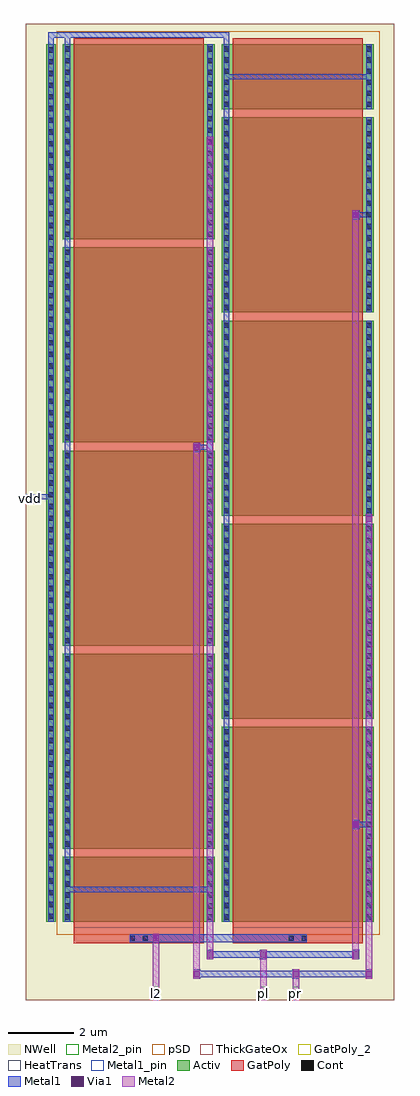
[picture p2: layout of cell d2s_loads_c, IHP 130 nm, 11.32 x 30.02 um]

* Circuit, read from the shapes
.subckt d2s_loads_c l2 pl pr vdd
XM1 vdd l2 vdd vdd sg13_hv_pmos w=2u l=4u m=2
XM2 pl l2 vdd vdd sg13_hv_pmos w=6u l=4u m=4
XM3 pr l2 vdd vdd sg13_hv_pmos w=6u l=4u m=4
.ends

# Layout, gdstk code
import gdstk
lib = gdstk.Library(unit=1e-6, precision=1e-09)
def R(c, l, rs):  # rectangles x0, y0, x1, y1
    for r in rs: c.add(gdstk.rectangle(r[:2], r[2:], *l))
def A(c, l, x, y, w, h, nx, ny, dx, dy):  # array of equal rectangles
    R(c, l, [(x+i*dx, y+j*dy, x+i*dx+w, y+j*dy+h) for i in range(nx) for j in range(ny)])
Activ = (1, 0)
GatPoly = (5, 0)
GatPoly_2 = (5, 2)
Cont = (6, 0)
Metal1 = (8, 0)
Metal1_pin = (8, 2)
Metal2 = (10, 0)
Metal2_pin = (10, 2)
pSD = (14, 0)
Via1 = (19, 0)
NWell = (31, 0)
ThickGateOx = (44, 0)
HeatTrans = (51, 0)

pmoshv_15 = lib.new_cell('pmosHV$15')
R(pmoshv_15, Activ, [(0,0,0.3,0.3), (0,0,4.68,2), (4.38,0,4.68,0.3)])
R(pmoshv_15, GatPoly, [(0.34,-0.18,4.34,2.18)])
R(pmoshv_15, GatPoly_2, [(0.34,-0.18,4.34,2.18)])
A(pmoshv_15, Cont, 0.07, 0.07, 0.16, 0.16, 1, 6, 0, 0.34)
A(pmoshv_15, Cont, 4.45, 0.07, 0.16, 0.16, 1, 6, 0, 0.34)
R(pmoshv_15, Metal1, [(0.07,0,0.23,2), (4.45,0,4.61,2)])
R(pmoshv_15, Metal1_pin, [(0.07,0,0.23,2), (4.45,0,4.61,2)])
R(pmoshv_15, pSD, [(-0.18,-0.4,4.86,2.4)])
R(pmoshv_15, NWell, [(-0.62,-0.62,5.3,2.62)])
R(pmoshv_15, ThickGateOx, [(-0.62,-0.62,5.3,2.62)])
R(pmoshv_15, HeatTrans, [(0.34,-0.18,4.34,2.18)])
pmoshv_15.add(gdstk.Label('pmosHV', (2.34,1), layer=63, texttype=0))
pmoshv_15.add(gdstk.Label('pmos', (2.34,1), layer=51, texttype=0))

pmoshv_2 = lib.new_cell('pmosHV$2')
R(pmoshv_2, Activ, [(0,0,0.3,0.3), (0,0,4.68,6), (4.38,0,4.68,0.3)])
R(pmoshv_2, GatPoly, [(0.34,-0.18,4.34,6.18)])
R(pmoshv_2, GatPoly_2, [(0.34,-0.18,4.34,6.18)])
A(pmoshv_2, Cont, 0.07, 0.07, 0.16, 0.16, 1, 4, 0, 0.355)
A(pmoshv_2, Cont, 4.45, 0.07, 0.16, 0.16, 1, 4, 0, 0.355)
A(pmoshv_2, Cont, 0.07, 1.495, 0.16, 0.16, 1, 4, 0, 0.355)
A(pmoshv_2, Cont, 4.45, 1.495, 0.16, 0.16, 1, 4, 0, 0.355)
A(pmoshv_2, Cont, 0.07, 2.92, 0.16, 0.16, 1, 4, 0, 0.355)
A(pmoshv_2, Cont, 4.45, 2.92, 0.16, 0.16, 1, 4, 0, 0.355)
A(pmoshv_2, Cont, 0.07, 4.345, 0.16, 0.16, 1, 4, 0, 0.355)
A(pmoshv_2, Cont, 4.45, 4.345, 0.16, 0.16, 1, 4, 0, 0.355)
R(pmoshv_2, Cont, [(0.07,5.77,0.23,5.93), (4.45,5.77,4.61,5.93)])
R(pmoshv_2, Metal1, [(0.07,0,0.23,6), (4.45,0,4.61,6)])
R(pmoshv_2, Metal1_pin, [(0.07,0,0.23,6), (4.45,0,4.61,6)])
R(pmoshv_2, pSD, [(-0.18,-0.4,4.86,6.4)])
R(pmoshv_2, NWell, [(-0.62,-0.62,5.3,6.62)])
R(pmoshv_2, ThickGateOx, [(-0.62,-0.62,5.3,6.62)])
R(pmoshv_2, HeatTrans, [(0.34,-0.18,4.34,6.18)])
pmoshv_2.add(gdstk.Label('pmosHV', (2.34,3), layer=63, texttype=0))
pmoshv_2.add(gdstk.Label('pmos', (2.34,3), layer=51, texttype=0))

d2s_loads_c = lib.new_cell('d2s_loads_c')
R(d2s_loads_c, Activ, [(0.62,2.4,0.92,29.4)])
R(d2s_loads_c, GatPoly, [(1.47,1.75,5.47,2.4), (6.36,1.75,10.36,2.4)])
A(d2s_loads_c, Cont, 0.69, 2.5, 0.16, 0.16, 1, 75, 0, 0.36)
R(d2s_loads_c, Cont, [(3.19,1.82,3.35,1.98), (3.59,1.82,3.75,1.98), (8.08,1.82,8.24,1.98), (8.48,1.82,8.64,1.98)])
A(d2s_loads_c, Metal1, 1.2, 4.35, 0.16, 0.35, 1, 4, 0, 6.25)
A(d2s_loads_c, Metal1, 6.09, 8.35, 0.16, 0.35, 1, 4, 0, 6.25)
R(d2s_loads_c, Metal1, [(5.145,0.655,5.355,0.945), (8.195,0.655,8.405,0.945), (10.445,0.655,10.655,0.945), (5.145,0.695,10.655,0.905), (8.155,0.695,8.445,0.905), (5.555,1.255,5.765,1.545), (7.195,1.255,7.405,1.545), (10.035,1.255,10.245,1.545), (5.555,1.295,10.245,1.505), (7.155,1.295,7.445,1.505), (3.895,1.755,4.105,2.045), (3.19,1.77,8.64,2.03), (0.69,2.4,0.85,29.76), (1.2,2.4,1.36,29.76), (6.09,2.4,6.25,29.76), (1.2,3.32,5.74,3.48), (10.035,5.255,10.245,5.545), (10.035,5.32,10.63,5.48), (5.555,7.505,5.765,7.795), (10.47,14.6,10.63,14.95), (10.445,14.655,10.655,14.945), (0,15.27,0.29,15.56), (0,15.4,0.85,15.56), (5.58,16.85,5.74,17.2), (5.145,16.855,5.355,17.145), (5.145,16.92,5.74,17.08), (10.035,24.005,10.245,24.295), (10.035,24.07,10.63,24.23), (5.555,26.255,5.765,26.545), (6.09,28.32,10.63,28.48), (0.69,29.6,6.25,29.76)])
R(d2s_loads_c, Metal1_pin, [(0,15.27,0.29,15.56)])
R(d2s_loads_c, Metal2, [(3.9,0,4.1,2.045), (7.2,0,7.4,1.545), (8.2,0,8.4,0.945), (5.15,0.655,5.35,0.945), (5.15,0.655,5.35,17.145), (8.2,0.655,8.4,0.945), (10.45,0.655,10.65,0.945), (10.45,0.655,10.65,14.945), (5.56,1.255,5.76,1.545), (5.56,1.255,5.76,26.545), (7.2,1.255,7.4,1.545), (10.04,1.255,10.24,1.545), (10.04,1.255,10.24,24.295), (3.9,1.755,4.1,2.045), (10.04,5.255,10.24,5.545), (5.56,7.505,5.76,7.795), (10.45,14.655,10.65,14.945), (5.15,16.855,5.35,17.145), (10.04,24.005,10.24,24.295), (5.56,26.255,5.76,26.545)])
R(d2s_loads_c, Metal2_pin, [(3.9,0,4.1,0.4), (7.2,0,7.4,0.4), (8.2,0,8.4,0.4)])
R(d2s_loads_c, Via1, [(5.155,0.705,5.345,0.895), (8.205,0.705,8.395,0.895), (10.455,0.705,10.645,0.895), (5.565,1.305,5.755,1.495), (7.205,1.305,7.395,1.495), (10.045,1.305,10.235,1.495), (3.905,1.805,4.095,1.995), (10.045,5.305,10.235,5.495), (5.565,7.555,5.755,7.745), (10.455,14.705,10.645,14.895), (5.155,16.905,5.345,17.095), (10.045,24.055,10.235,24.245), (5.565,26.305,5.755,26.495)])
R(d2s_loads_c, NWell, [(0,0,11.32,30.02)])
R(d2s_loads_c, ThickGateOx, [(0,0,11.32,30.02)])
d2s_loads_c.add(gdstk.Reference(pmoshv_15, (1.13,2.4)))
d2s_loads_c.add(gdstk.Reference(pmoshv_2, (1.13,4.65)))
d2s_loads_c.add(gdstk.Reference(pmoshv_2, (1.13,10.9)))
d2s_loads_c.add(gdstk.Reference(pmoshv_2, (1.13,17.15)))
d2s_loads_c.add(gdstk.Reference(pmoshv_2, (1.13,23.4)))
d2s_loads_c.add(gdstk.Reference(pmoshv_2, (6.02,2.4)))
d2s_loads_c.add(gdstk.Reference(pmoshv_2, (6.02,8.65)))
d2s_loads_c.add(gdstk.Reference(pmoshv_2, (6.02,14.9)))
d2s_loads_c.add(gdstk.Reference(pmoshv_2, (6.02,21.15)))
d2s_loads_c.add(gdstk.Reference(pmoshv_15, (6.02,27.4)))
d2s_loads_c.add(gdstk.Label('vdd', (0.145,15.415), layer=8, texttype=25))
d2s_loads_c.add(gdstk.Label('pl', (7.3,0.2), layer=10, texttype=25))
d2s_loads_c.add(gdstk.Label('pr', (8.3,0.2), layer=10, texttype=25))
d2s_loads_c.add(gdstk.Label('l2', (4,0.2), layer=10, texttype=25))

lib.write_gds('d2s_loads_c.gds')
